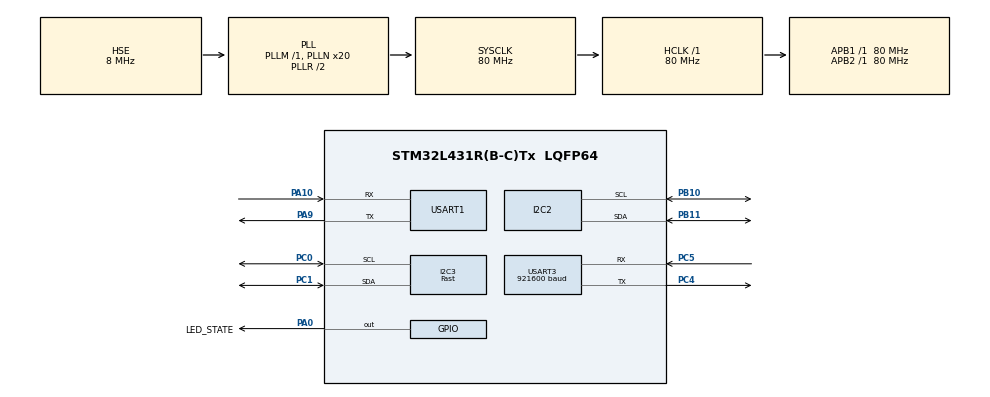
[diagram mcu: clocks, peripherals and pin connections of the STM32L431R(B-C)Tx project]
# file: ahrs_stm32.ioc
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Dma.I2C3_RX.0.Direction=DMA_PERIPH_TO_MEMORY
Dma.I2C3_RX.0.Instance=DMA1_Channel3
Dma.I2C3_RX.0.MemDataAlignment=DMA_MDATAALIGN_BYTE
Dma.I2C3_RX.0.MemInc=DMA_MINC_ENABLE
Dma.I2C3_RX.0.Mode=DMA_NORMAL
Dma.I2C3_RX.0.PeriphDataAlignment=DMA_PDATAALIGN_BYTE
Dma.I2C3_RX.0.PeriphInc=DMA_PINC_DISABLE
Dma.I2C3_RX.0.Priority=DMA_PRIORITY_LOW
Dma.I2C3_TX.1.Direction=DMA_MEMORY_TO_PERIPH
Dma.I2C3_TX.1.Instance=DMA1_Channel2
Dma.I2C3_TX.1.MemDataAlignment=DMA_MDATAALIGN_BYTE
Dma.I2C3_TX.1.MemInc=DMA_MINC_ENABLE
Dma.I2C3_TX.1.Mode=DMA_NORMAL
Dma.I2C3_TX.1.PeriphDataAlignment=DMA_PDATAALIGN_BYTE
Dma.I2C3_TX.1.PeriphInc=DMA_PINC_DISABLE
Dma.I2C3_TX.1.Priority=DMA_PRIORITY_LOW
Dma.Request0=I2C3_RX
Dma.Request1=I2C3_TX
I2C2.Timing=0x10909CEC
I2C3.I2C_Speed_Mode=I2C_Fast
I2C3.Timing=0x00702991
Mcu.Family=STM32L4
Mcu.Name=STM32L431R(B-C)Tx
Mcu.Package=LQFP64
NVIC.DMA1_Channel2_IRQn=true\:1\:0\:true\:false\:true\:false\:true\:true
NVIC.DMA1_Channel3_IRQn=true\:1\:0\:true\:false\:true\:false\:true\:true
NVIC.I2C3_ER_IRQn=true\:1\:0\:true\:false\:true\:true\:true\:true
NVIC.I2C3_EV_IRQn=true\:1\:0\:true\:false\:true\:true\:true\:true
NVIC.PriorityGroup=NVIC_PRIORITYGROUP_4
NVIC.TIM6_DAC_IRQn=true\:14\:0\:true\:false\:true\:true\:true\:true
NVIC.TIM7_IRQn=true\:14\:0\:true\:false\:true\:true\:true\:true
PA0.GPIO_Label=LED_STATE
PA0.PinState=GPIO_PIN_SET
PA0.Signal=GPIO_Output
PA10.Mode=Asynchronous
PA10.Signal=USART1_RX
PA13\ (JTMS-SWDIO).Mode=Serial_Wire
PA13\ (JTMS-SWDIO).Signal=SYS_JTMS-SWDIO
PA14\ (JTCK-SWCLK).Mode=Serial_Wire
PA14\ (JTCK-SWCLK).Signal=SYS_JTCK-SWCLK
PA9.Mode=Asynchronous
PA9.Signal=USART1_TX
PB10.GPIO_Pu=GPIO_PULLUP
PB10.Mode=I2C
PB10.Signal=I2C2_SCL
PB11.GPIO_Pu=GPIO_PULLUP
PB11.Mode=I2C
PB11.Signal=I2C2_SDA
PC0.Mode=I2C
PC0.Signal=I2C3_SCL
PC1.Mode=I2C
PC1.Signal=I2C3_SDA
PC4.Mode=Asynchronous
PC4.Signal=USART3_TX
PC5.Mode=Asynchronous
PC5.Signal=USART3_RX
PH0-OSC_IN\ (PH0).Mode=HSE-External-Oscillator
PH0-OSC_IN\ (PH0).Signal=RCC_OSC_IN
PH1-OSC_OUT\ (PH1).Mode=HSE-External-Oscillator
PH1-OSC_OUT\ (PH1).Signal=RCC_OSC_OUT
ProjectManager.HeapSize=0x200
ProjectManager.StackSize=0x400
ProjectManager.TargetToolchain=CMake
RCC.ADCFreq_Value=32000000
RCC.AHBFreq_Value=80000000
RCC.APB1Freq_Value=80000000
RCC.APB1TimFreq_Value=80000000
RCC.APB2Freq_Value=80000000
RCC.APB2TimFreq_Value=80000000
RCC.CortexFreq_Value=80000000
RCC.HCLKFreq_Value=80000000
RCC.HSE_VALUE=8000000
RCC.HSI48_VALUE=48000000
RCC.HSI_VALUE=16000000
RCC.LSE_VALUE=32768
RCC.MSI_VALUE=4000000
RCC.PLLN=20
RCC.PLLSourceVirtual=RCC_PLLSOURCE_HSE
RCC.SYSCLKFreq_VALUE=80000000
RCC.SYSCLKSource=RCC_SYSCLKSOURCE_PLLCLK
RCC.VCOOutputFreq_Value=160000000
TIM6.AutoReloadPreload=TIM_AUTORELOAD_PRELOAD_ENABLE
TIM6.Period=10000-1
TIM6.Prescaler=8000-1
TIM7.AutoReloadPreload=TIM_AUTORELOAD_PRELOAD_ENABLE
TIM7.Period=5000-1
TIM7.Prescaler=80-1
USART1.SwapParam=ADVFEATURE_SWAP_DISABLE
USART1.VirtualMode-Asynchronous=VM_ASYNC
USART3.BaudRate=921600
USART3.VirtualMode-Asynchronous=VM_ASYNC
VP_TIM6_VS_ClockSourceINT.Mode=Enable_Timer
VP_TIM7_VS_ClockSourceINT.Mode=Enable_Timer
board=custom

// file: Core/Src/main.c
/* USER CODE BEGIN Header */
/**
  ******************************************************************************
  * @file           : main.c
  * @brief          : Main program body
  ******************************************************************************
  * @attention
  *
  * Copyright (c) 2024 STMicroelectronics.
  * All rights reserved.
  *
  * This software is licensed under terms that can be found in the LICENSE file
  * in the root directory of this software component.
  * If no LICENSE file comes with this software, it is provided AS-IS.
  *
  ******************************************************************************
  */
/* USER CODE END Header */
#include "main.h"
#include "dma.h"
#include "i2c.h"
#include "tim.h"
#include "usart.h"
#include "gpio.h"

/* USER CODE BEGIN Includes */
#include <stdio.h>
#include "start.h"
/* USER CODE END Includes */

/* USER CODE BEGIN PV */
uint8_t time5ms;
uint8_t time1000ms;

float yaw;
float pitch;
float roll;
// float temperature;
// float pressure;
// float altitude;
/* USER CODE END PV */

void SystemClock_Config(void);

/* USER CODE BEGIN 0 */
#ifdef __GNUC__
#define PUTCHAR_PROTOTYPE int __io_putchar(int ch)
#else
#define PUTCHAR_PROTOTYPE int fputc(int ch, FILE *f)
#endif
PUTCHAR_PROTOTYPE
{
    HAL_UART_Transmit(&huart1 , (uint8_t *)&ch, 1, 0xFFFF);
    return ch;
}

/* USER CODE END 0 */

int main(void)
{

  /* MCU Configuration--------------------------------------------------------*/

  /* Reset of all peripherals, Initializes the Flash interface and the Systick. */
  HAL_Init();

  /* Configure the system clock */
  SystemClock_Config();

  /* Initialize all configured peripherals */
  MX_GPIO_Init();
  MX_DMA_Init();
  MX_I2C2_Init();
  MX_I2C3_Init();
  MX_USART1_UART_Init();
  MX_USART3_UART_Init();
  MX_TIM6_Init();
  MX_TIM7_Init();
  /* USER CODE BEGIN 2 */
  for (int i = 0; i < 6; i++)
  {
    HAL_GPIO_TogglePin(LED_STATE_GPIO_Port, LED_STATE_Pin);
    HAL_Delay(500);
  }
  HAL_TIM_Base_Start_IT(&htim6);
  HAL_TIM_Base_Start_IT(&htim7);

  // IMU_EN_SENSOR_TYPE enMotionSensorType, enPressureType;
  // IMU_ST_ANGLES_DATA stAngles;
  // IMU_ST_SENSOR_DATA stGyroRawData;
  // IMU_ST_SENSOR_DATA stAccelRawData;
  // IMU_ST_SENSOR_DATA stMagnRawData;
  // int32_t s32PressureVal = 0, s32TemperatureVal = 0, s32AltitudeVal = 0;

  // imuInit(&enMotionSensorType, &enPressureType);
  // if(IMU_EN_SENSOR_TYPE_ICM20948 == enMotionSensorType  && IMU_EN_SENSOR_TYPE_BMP280 == enPressureType)
  // {
  //   printf("Motion sersor is ICM-20948\r\n" );
  start_up();
  /* USER CODE END 2 */

  /* Infinite loop */
  while (1)
  {

  }
}

void SystemClock_Config(void)
{
  RCC_OscInitTypeDef RCC_OscInitStruct = {0};
  RCC_ClkInitTypeDef RCC_ClkInitStruct = {0};

  /** Configure the main internal regulator output voltage
  */
  if (HAL_PWREx_ControlVoltageScaling(PWR_REGULATOR_VOLTAGE_SCALE1) != HAL_OK)
  {
    Error_Handler();
  }

  /** Initializes the RCC Oscillators according to the specified parameters
  * in the RCC_OscInitTypeDef structure.
  */
  RCC_OscInitStruct.OscillatorType = RCC_OSCILLATORTYPE_HSE;
  RCC_OscInitStruct.HSEState = RCC_HSE_ON;
  RCC_OscInitStruct.PLL.PLLState = RCC_PLL_ON;
  RCC_OscInitStruct.PLL.PLLSource = RCC_PLLSOURCE_HSE;
  RCC_OscInitStruct.PLL.PLLM = 1;
  RCC_OscInitStruct.PLL.PLLN = 20;
  RCC_OscInitStruct.PLL.PLLP = RCC_PLLP_DIV7;
  RCC_OscInitStruct.PLL.PLLQ = RCC_PLLQ_DIV2;
  RCC_OscInitStruct.PLL.PLLR = RCC_PLLR_DIV2;
  if (HAL_RCC_OscConfig(&RCC_OscInitStruct) != HAL_OK)
  {
    Error_Handler();
  }

  /** Initializes the CPU, AHB and APB buses clocks
  */
  RCC_ClkInitStruct.ClockType = RCC_CLOCKTYPE_HCLK|RCC_CLOCKTYPE_SYSCLK
                              |RCC_CLOCKTYPE_PCLK1|RCC_CLOCKTYPE_PCLK2;
  RCC_ClkInitStruct.SYSCLKSource = RCC_SYSCLKSOURCE_PLLCLK;
  RCC_ClkInitStruct.AHBCLKDivider = RCC_SYSCLK_DIV1;
  RCC_ClkInitStruct.APB1CLKDivider = RCC_HCLK_DIV1;
  RCC_ClkInitStruct.APB2CLKDivider = RCC_HCLK_DIV1;

  if (HAL_RCC_ClockConfig(&RCC_ClkInitStruct, FLASH_LATENCY_4) != HAL_OK)
  {
    Error_Handler();
  }
}

/* USER CODE BEGIN 4 */
void HAL_TIM_PeriodElapsedCallback(TIM_HandleTypeDef* htim)
{
  if (htim -> Instance == TIM6)
  {
    time1000ms = 1;
  }

  if (htim -> Instance == TIM7)
  {
    time5ms = 1;
  }
}
/* USER CODE END 4 */

void Error_Handler(void)
{
  __disable_irq();
  while (1)
  {
  }
}
